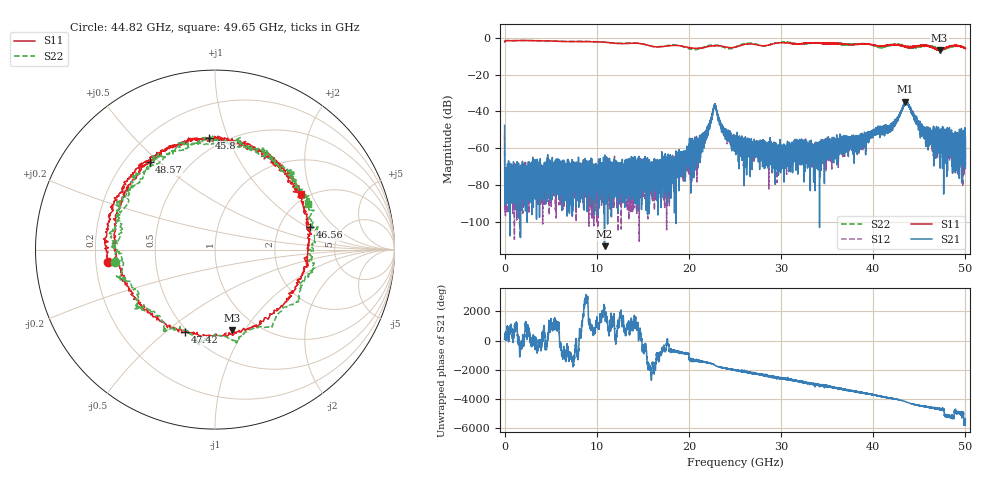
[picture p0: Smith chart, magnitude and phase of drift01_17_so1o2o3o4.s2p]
!Created with skrf (http://scikit-rf.org).
# Hz S RI R 50.0
!freq ReS11 ImS11 ReS21 ImS21 ReS12 ImS12 ReS22 ImS22
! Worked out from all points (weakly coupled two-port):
!   10001 points, 300 kHz to 50 GHz, reference 50 ohm
!   highest |S21| = -34.74 dB at 43.5 GHz (marker M1); lowest = -113.3 dB at 10.84 GHz (marker M2)
!   lowest |S11| = -6.7 dB at 47.2 GHz (marker M3), VSWR 2.71, Z = 38.5 - j44.1 ohm
!   |S11| at or under -10 dB: nowhere
!   |S22| runs from -6.6 to -1.4 dB; largest |S21 - S12| = 0.0039
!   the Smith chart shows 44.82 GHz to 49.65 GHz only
!   S11 on the Smith chart (normalised r, x): 44.82 GHz: 0.25, -0.05; 45.8 GHz: 0.42, +0.86; 46.56 GHz: 2.95, +1.07; 47.42 GHz: 0.48, -0.58; 48.57 GHz: 0.30, +0.46; 49.65 GHz: 1.82, +1.69
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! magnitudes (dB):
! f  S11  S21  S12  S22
! 300 kHz  -2.1  -47.6  -52.8  -2.1
! 265.3 MHz  -1.4  -76.2  -81.3  -1.4
! 8.335 GHz  -1.9  -76.8  -81.8  -1.8
! 10.84 GHz  -2.3  -113.3  -89.4  -2.3
! 16.67 GHz  -4.8  -72.4  -81.6  -4.8
! 17.69 GHz  -4.4  -73.3  -79.6  -4.2
! 21.08 GHz  -5.6  -59.4  -60.4  -6.0
! 22.8 GHz  -4.3  -36.1  -36.4  -4.0
! 23.76 GHz  -4.7  -50.5  -50.9  -5.0
! 25 GHz  -5.0  -57.6  -53.3  -5.1
! 29.72 GHz  -2.7  -63.7  -60.5  -2.4
! 33.34 GHz  -2.6  -66.5  -60.4  -2.6
! 41.67 GHz  -3.9  -48.6  -50.3  -4.4
! 43.5 GHz  -4.8  -34.7  -35.4  -4.7
! 44.82 GHz  -4.4  -47.2  -46.6  -5.0
! 45.8 GHz  -4.1  -52.5  -55.4  -4.3
! 46.56 GHz  -5.3  -57.4  -51.5  -4.9
! 47.2 GHz  -6.7  -56.9  -55.6  -5.9
! 47.42 GHz  -6.2  -51.8  -52.3  -5.4
! 48.57 GHz  -4.3  -59.4  -57.4  -4.5
! 49.65 GHz  -4.9  -52.1  -53.9  -4.8
! 50 GHz  -5.7  -53.8  -69.2  -5.4
